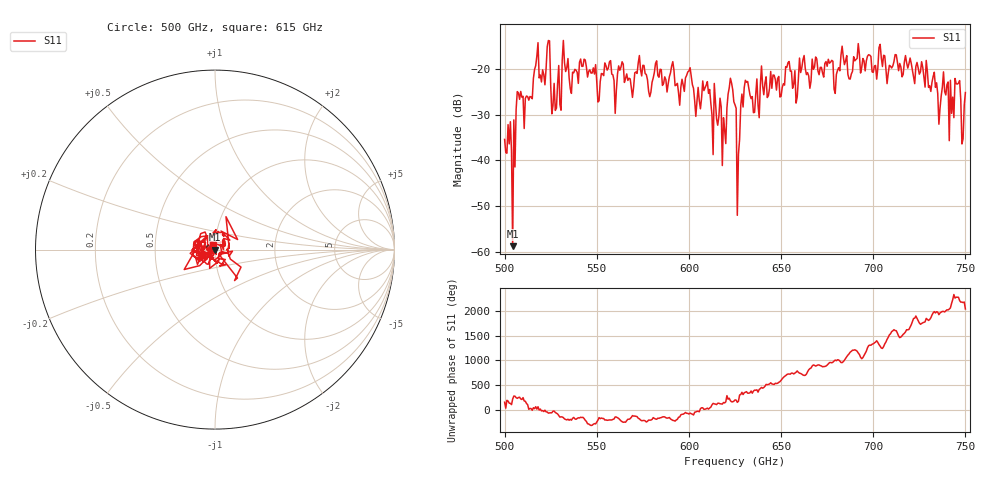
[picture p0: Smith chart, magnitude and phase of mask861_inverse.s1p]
!Created with skrf (http://scikit-rf.org).
# GHz S MA R 50.0
!freq magS11 angS11
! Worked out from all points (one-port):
!   401 points, 500 GHz to 750 GHz, reference 50 ohm
!   lowest |S11| = -58.7 dB at 504.4 GHz (marker M1), VSWR 1.00, Z = 49.9 - j0.0823 ohm
!   |S11| at or under -10 dB: start of sweep to end of sweep
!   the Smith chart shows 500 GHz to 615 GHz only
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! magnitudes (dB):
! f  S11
! 500 GHz  -35.4
! 504.4 GHz  -58.7
! 507.5 GHz  -25.2
! 513.8 GHz  -26.0
! 516.9 GHz  -19.3
! 523.8 GHz  -13.8
! 526.9 GHz  -23.2
! 531.2 GHz  -18.2
! 556.2 GHz  -19.8
! 560 GHz  -29.7
! 562.5 GHz  -20.3
! 578.8 GHz  -26.1
! 590.6 GHz  -19.4
! 593.8 GHz  -23.2
! 608.8 GHz  -24.2
! 619.4 GHz  -33.3
! 622.5 GHz  -22.0
! 625 GHz  -27.8
! 627.5 GHz  -35.4
! 631.2 GHz  -22.9
! 635 GHz  -29.6
! 656.2 GHz  -24.2
! 680 GHz  -21.2
! 683.8 GHz  -17.4
! 687.5 GHz  -22.2
! 691.2 GHz  -17.7
! 718.8 GHz  -19.8
! 750 GHz  -25.2
